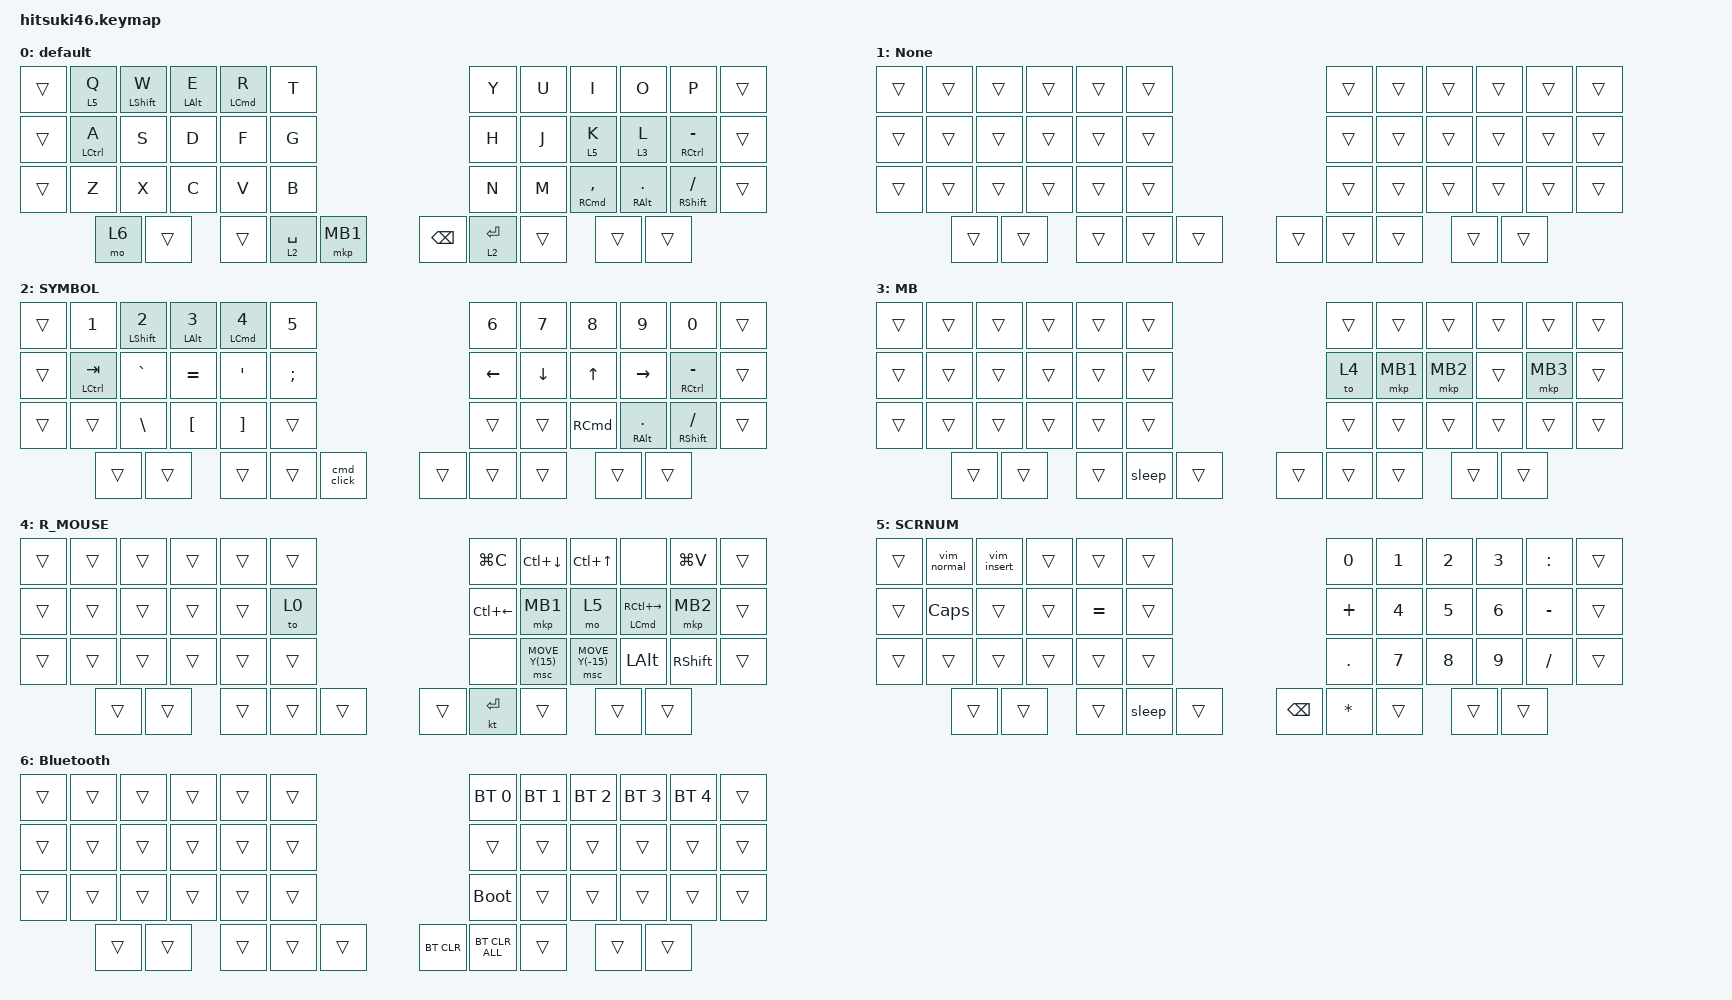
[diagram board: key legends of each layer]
#include <behaviors.dtsi>
#include <dt-bindings/zmk/bt.h>
#include <dt-bindings/zmk/keys.h>
#include <dt-bindings/zmk/pointing.h>

&mt {
    flavor = "balanced";
    quick-tap-ms = <0>;
};

// &trackball {
//     // Note: automouse-layer and scroll-layers are no longer supported in badjeff/zmk-pmw3610-driver
//     // These features should now be configured using layer-based zmk,input-listener in keymap
//     // automouse-layer = <1>;
//     // scroll-layers = <5>;
// };

/ {
    combos {
        compatible = "zmk,combos";

        lan1 {
            bindings = <&kp LANG1>;
            key-positions = <19 20>;
        };

        lang2 {
            bindings = <&kp LANG2>;
            key-positions = <15 16>;
        };
    };

    macros {
        to_layer_0: to_layer_0 {
            compatible = "zmk,behavior-macro-one-param";
            #binding-cells = <1>;
            bindings = <&to 3 &macro_param_1to1 &kp MACRO_PLACEHOLDER>;
            label = "TO_LAYER_0";
        };

        sleep: sleep {
            compatible = "zmk,behavior-macro";
            #binding-cells = <0>;
            bindings =
                <&macro_press>,
                <&kp LEFT_WIN &kp LEFT_CONTROL>,
                <&macro_tap>,
                <&kp Q>,
                <&macro_release>,
                <&kp LEFT_COMMAND &kp LEFT_CONTROL>;

            label = "SLEEP";
        };

        vim_normal: vim_normal {
            compatible = "zmk,behavior-macro";
            #binding-cells = <0>;
            bindings = <&kp LANG2 &kp ESCAPE>;
            label = "VIM_NORMAL";
        };

        vim_insert: vim_insert {
            compatible = "zmk,behavior-macro";
            #binding-cells = <0>;
            bindings = <&kp I &kp LANGUAGE_1>;
            label = "VIM_INSERT";
        };

        cmd_click: cmd_click {
            compatible = "zmk,behavior-macro";
            #binding-cells = <0>;
            bindings =
                <&macro_press>,
                <&kp LEFT_COMMAND>,
                <&macro_tap>,
                <&mkp MB1>,
                <&macro_release>,
                <&kp LEFT_COMMAND>;

            label = "CMD_CLICK";
        };
    };

    behaviors {
        lt_to_layer_0: lt_to_layer_0 {
            compatible = "zmk,behavior-hold-tap";
            label = "LAYER_TAP_TO_0";
            bindings = <&mo>, <&to_layer_0>;

            #binding-cells = <2>;
            tapping-term-ms = <200>;
        };
    };

    keymap {
        compatible = "zmk,keymap";

        default {
            bindings = <
&trans  &lt 5 Q             &mt LEFT_SHIFT W  &mt LEFT_ALT E  &mt LEFT_COMMAND R  &kp T     &kp Y          &kp U        &kp I                    &kp O                 &kp P                  &trans
&trans  &mt LEFT_CONTROL A  &kp S             &kp D           &kp F               &kp G     &kp H          &kp J        &lt 5 K                  &lt 3 L               &mt RCTRL MINUS        &trans
&trans  &kp Z               &kp X             &kp C           &kp V               &kp B     &kp N          &kp M        &mt RIGHT_COMMAND COMMA  &mt RIGHT_ALT PERIOD  &mt RIGHT_SHIFT SLASH  &trans
        &mo 6               &trans            &trans          &lt 2 SPACE         &mkp MB1  &kp BACKSPACE  &lt 2 ENTER  &trans                   &trans                &trans
            >;
        };

        None {
            bindings = <
&trans  &trans  &trans  &trans  &trans  &trans  &trans  &trans  &trans  &trans  &trans  &trans
&trans  &trans  &trans  &trans  &trans  &trans  &trans  &trans  &trans  &trans  &trans  &trans
&trans  &trans  &trans  &trans  &trans  &trans  &trans  &trans  &trans  &trans  &trans  &trans
        &trans  &trans  &trans  &trans  &trans  &trans  &trans  &trans  &trans  &trans
            >;
        };

        SYMBOL {
            bindings = <
&trans  &kp N1                &mt LEFT_SHIFT NUMBER_2  &mt LEFT_ALT NUMBER_3  &mt LEFT_COMMAND NUMBER_4  &kp N5         &kp N6          &kp N7          &kp N8             &kp N9                &kp N0                   &trans
&trans  &mt LEFT_CONTROL TAB  &kp GRAVE                &kp EQUAL              &kp SQT                    &kp SEMICOLON  &kp LEFT_ARROW  &kp DOWN_ARROW  &kp UP_ARROW       &kp RIGHT_ARROW       &mt RIGHT_CONTROL MINUS  &trans
&trans  &trans                &kp BACKSLASH            &kp LEFT_BRACKET       &kp RIGHT_BRACKET          &trans         &trans          &trans          &kp RIGHT_COMMAND  &mt RIGHT_ALT PERIOD  &mt RIGHT_SHIFT SLASH    &trans
        &trans                &trans                   &trans                 &trans                     &cmd_click     &trans          &trans          &trans             &trans                &trans
            >;
        };

        MB {
            bindings = <
&trans  &trans  &trans  &trans  &trans  &trans  &trans  &trans    &trans    &trans  &trans    &trans
&trans  &trans  &trans  &trans  &trans  &trans  &to 4   &mkp MB1  &mkp MB2  &trans  &mkp MB3  &trans
&trans  &trans  &trans  &trans  &trans  &trans  &trans  &trans    &trans    &trans  &trans    &trans
        &trans  &trans  &trans  &sleep  &trans  &trans  &trans    &trans    &trans  &trans
            >;
        };

        R_MOUSE {
            bindings = <
&trans  &trans  &trans  &trans  &trans  &trans  &kp LG(C)           &kp LC(DOWN_ARROW)  &kp LC(UP_ARROW)  &none                             &kp LG(V)        &trans
&trans  &trans  &trans  &trans  &trans  &to 0   &kp LC(LEFT_ARROW)  &mkp MB1            &mo 5             &mt LEFT_COMMAND RC(RIGHT_ARROW)  &mkp MB2         &trans
&trans  &trans  &trans  &trans  &trans  &trans  &none               &msc MOVE_Y(15)     &msc MOVE_Y(-15)  &kp LEFT_ALT                      &kp RIGHT_SHIFT  &trans
        &trans  &trans  &trans  &trans  &trans  &trans              &kt ENTER           &trans            &trans                            &trans
            >;
        };

        SCRNUM {
            bindings = <
&trans  &vim_normal   &vim_insert  &trans  &trans     &trans  &kp N0         &kp NUMBER_1  &kp NUMBER_2  &kp NUMBER_3  &kp COLON  &trans
&trans  &kp CAPSLOCK  &trans       &trans  &kp EQUAL  &trans  &kp PLUS       &kp NUMBER_4  &kp N5        &kp NUMBER_6  &kp MINUS  &trans
&trans  &trans        &trans       &trans  &trans     &trans  &kp PERIOD     &kp N7        &kp N8        &kp N9        &kp SLASH  &trans
        &trans        &trans       &trans  &sleep     &trans  &kp BACKSPACE  &kp ASTERISK  &trans        &trans        &trans
            >;
        };

        Bluetooth {
            bindings = <
&trans  &trans  &trans  &trans  &trans  &trans  &bt BT_SEL 0  &bt BT_SEL 1    &bt BT_SEL 2  &bt BT_SEL 3  &bt BT_SEL 4  &trans
&trans  &trans  &trans  &trans  &trans  &trans  &trans        &trans          &trans        &trans        &trans        &trans
&trans  &trans  &trans  &trans  &trans  &trans  &bootloader   &trans          &trans        &trans        &trans        &trans
        &trans  &trans  &trans  &trans  &trans  &bt BT_CLR    &bt BT_CLR_ALL  &trans        &trans        &trans
            >;
        };
    };
};
